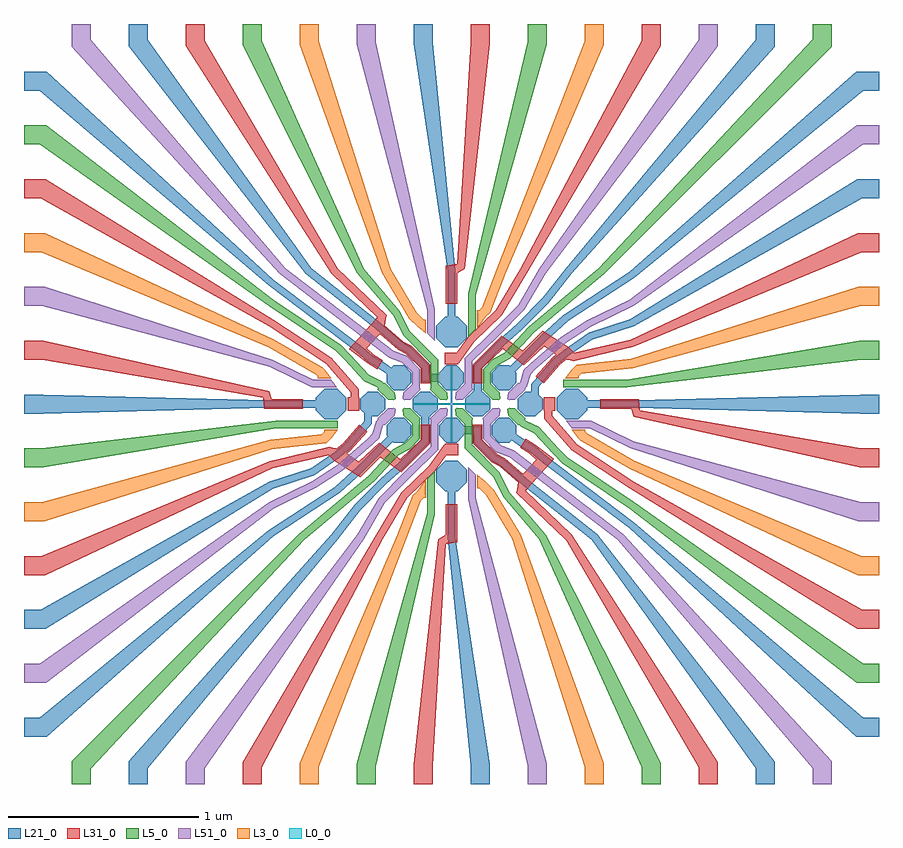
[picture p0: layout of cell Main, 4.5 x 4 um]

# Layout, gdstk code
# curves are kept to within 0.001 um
import gdstk
lib = gdstk.Library(unit=1e-6, precision=1e-09)
def R(c, l, rs):  # rectangles x0, y0, x1, y1
    for r in rs: c.add(gdstk.rectangle(r[:2], r[2:], *l))
def P(c, l, *ps):  # polygons
    for p in ps: c.add(gdstk.Polygon(p, *l))
L0_0 = (0, 0)
L3_0 = (3, 0)
L5_0 = (5, 0)
L21_0 = (21, 0)
L31_0 = (31, 0)
L51_0 = (51, 0)

main = lib.new_cell('Main')
P(main, L0_0, [(0.195,0.005),(0.005,0.005),(0.005,0.195),(-0.005,0.195),(-0.005,0.005),(-0.195,0.005),(-0.195,-0.005),(-0.005,-0.005),(-0.005,-0.195),(0.005,-0.195),(0.005,-0.005),(0.195,-0.005)],
  [(0.049,0.005),(0.005,0.005),(0.005,0.049),(-0.005,0.049),(-0.005,0.005),(-0.049,0.005),(-0.049,-0.005),(-0.005,-0.005),(-0.005,-0.049),(0.005,-0.049),(0.005,-0.005),(0.049,-0.005)])
P(main, L3_0, [(-0.135,0.373),(-0.135,0.443),(-0.145,0.443),(-0.18,0.408)],
  [(0.135,0.398),(0.135,0.493),(0.145,0.493),(0.18,0.458)],
  [(0.599,0.135),(0.669,0.135),(0.669,0.145),(0.633,0.18)],
  [(0.634,-0.135),(0.704,-0.135),(0.704,-0.145),(0.668,-0.18)],
  [(-0.135,-0.398),(-0.135,-0.493),(-0.145,-0.493),(-0.18,-0.458)],
  [(0.135,-0.373),(0.135,-0.443),(0.145,-0.443),(0.18,-0.408)],
  [(-0.599,-0.135),(-0.669,-0.135),(-0.669,-0.145),(-0.633,-0.18)],
  [(-0.634,0.135),(-0.704,0.135),(-0.704,0.145),(-0.668,0.18)],
  [(-0.12,0.378),(-0.12,0.378),(-0.12,0.378),(-0.12,0.378),(-0.12,0.378),(-0.12,0.378),(-0.12,0.378),(-0.12,0.378),(-0.12,0.378)],
  [(0.12,0.378),(0.12,0.378),(0.12,0.378),(0.12,0.378),(0.12,0.378),(0.12,0.378),(0.12,0.378),(0.12,0.378),(0.12,0.378)],
  [(-0.644,-0.12),(-0.644,-0.12),(-0.644,-0.12),(-0.644,-0.12),(-0.644,-0.12),(-0.644,-0.12),(-0.644,-0.12),(-0.644,-0.12),(-0.644,-0.12)],
  [(-0.674,0.12),(-0.674,0.12),(-0.674,0.12),(-0.674,0.12),(-0.674,0.12),(-0.674,0.12),(-0.674,0.12),(-0.674,0.12),(-0.674,0.12)],
  [(0.12,-0.378),(0.12,-0.378),(0.12,-0.378),(0.12,-0.378),(0.12,-0.378),(0.12,-0.378),(0.12,-0.378),(0.12,-0.378),(0.12,-0.378)],
  [(-0.12,-0.378),(-0.12,-0.378),(-0.12,-0.378),(-0.12,-0.378),(-0.12,-0.378),(-0.12,-0.378),(-0.12,-0.378),(-0.12,-0.378),(-0.12,-0.378)],
  [(0.644,0.12),(0.644,0.12),(0.644,0.12),(0.644,0.12),(0.644,0.12),(0.644,0.12),(0.644,0.12),(0.644,0.12),(0.644,0.12)],
  [(0.674,-0.12),(0.674,-0.12),(0.674,-0.12),(0.674,-0.12),(0.674,-0.12),(0.674,-0.12),(0.674,-0.12),(0.674,-0.12),(0.674,-0.12)],
  [(-0.18,0.408),(-0.145,0.443),(-0.183,0.481),(-0.319,0.71),(-0.7,1.908),(-0.7,2),(-0.8,2),(-0.8,1.891),(-0.365,0.689),(-0.223,0.45)],
  [(0.145,0.493),(0.18,0.458),(0.204,0.481),(0.286,0.691),(0.8,1.89),(0.8,2),(0.7,2),(0.7,1.909),(0.239,0.71),(0.161,0.509)],
  [(0.704,-0.145),(0.668,-0.18),(0.681,-0.193),(0.938,-0.342),(2.139,-0.9),(2.25,-0.9),(2.25,-0.8),(2.16,-0.8),(0.961,-0.298),(0.711,-0.153)],
  [(0.633,0.18),(0.669,0.145),(0.682,0.159),(0.955,0.189),(2.157,0.517),(2.25,0.517),(2.25,0.617),(2.142,0.617),(0.945,0.238),(0.66,0.207)],
  [(0.18,-0.408),(0.145,-0.443),(0.183,-0.481),(0.319,-0.71),(0.7,-1.908),(0.7,-2),(0.8,-2),(0.8,-1.891),(0.365,-0.689),(0.223,-0.45)],
  [(-0.145,-0.493),(-0.18,-0.458),(-0.204,-0.481),(-0.286,-0.691),(-0.8,-1.89),(-0.8,-2),(-0.7,-2),(-0.7,-1.909),(-0.239,-0.71),(-0.161,-0.509)],
  [(-0.704,0.145),(-0.668,0.18),(-0.681,0.193),(-0.938,0.342),(-2.139,0.9),(-2.25,0.9),(-2.25,0.8),(-2.16,0.8),(-0.961,0.298),(-0.711,0.153)],
  [(-0.633,-0.18),(-0.669,-0.145),(-0.682,-0.159),(-0.955,-0.189),(-2.157,-0.517),(-2.25,-0.517),(-2.25,-0.617),(-2.142,-0.617),(-0.945,-0.238),(-0.66,-0.207)])
R(main, L5_0, [(-0.669,-0.127,-0.599,-0.088), (0.589,0.088,0.659,0.127)])
P(main, L5_0, [(0.165,0.075),(0.217,0.023),(0.248,0.019),(0.257,0.028),(0.253,0.058),(0.2,0.111),(0.178,0.106),(0.169,0.098)],
  [(-0.165,-0.075),(-0.217,-0.023),(-0.248,-0.019),(-0.257,-0.028),(-0.253,-0.058),(-0.2,-0.111),(-0.178,-0.106),(-0.169,-0.098)],
  [(-0.111,0.075),(-0.058,0.023),(-0.028,0.019),(-0.019,0.028),(-0.023,0.058),(-0.075,0.111),(-0.098,0.106),(-0.106,0.098)],
  [(0.111,-0.075),(0.058,-0.023),(0.028,-0.019),(0.019,-0.028),(0.023,-0.058),(0.075,-0.111),(0.098,-0.106),(0.106,-0.098)],
  [(-0.387,0.075),(-0.334,0.023),(-0.303,0.019),(-0.294,0.028),(-0.299,0.058),(-0.351,0.111),(-0.373,0.106),(-0.382,0.098)],
  [(0.387,-0.075),(0.334,-0.023),(0.303,-0.019),(0.294,-0.028),(0.299,-0.058),(0.351,-0.111),(0.373,-0.106),(0.382,-0.098)],
  [(0.088,0.353),(0.088,0.463),(0.127,0.463),(0.127,0.393)],
  [(-0.087,-0.353),(-0.088,-0.463),(-0.127,-0.463),(-0.127,-0.393)],
  [(0.087,0.418),(0.127,0.418),(0.127,0.575),(0.5,1.893),(0.5,2),(0.4,2),(0.4,1.906),(0.087,0.58)],
  [(0.624,0.127),(0.624,0.088),(0.925,0.088),(2.153,0.233),(2.25,0.233),(2.25,0.333),(2.146,0.333),(0.922,0.127)],
  [(-0.088,-0.418),(-0.128,-0.418),(-0.128,-0.575),(-0.5,-1.893),(-0.5,-2),(-0.4,-2),(-0.4,-1.906),(-0.088,-0.58)],
  [(-0.624,-0.128),(-0.624,-0.088),(-0.925,-0.088),(-2.153,-0.233),(-2.25,-0.233),(-2.25,-0.333),(-2.146,-0.333),(-0.922,-0.128)],
  [(-0.359,0.055),(-0.331,0.083),(-0.367,0.119),(-0.435,0.154),(-0.532,0.26),(-0.584,0.311),(-0.938,0.55),(-2.133,1.467),(-2.25,1.467),(-2.25,1.367),(-2.166,1.367),(-0.961,0.517),(-0.609,0.28),(-0.561,0.232),(-0.46,0.121),(-0.391,0.087)],
  [(-0.084,0.056),(-0.054,0.082),(-0.069,0.1),(-0.069,0.232),(-0.219,0.382),(-0.272,0.488),(-0.462,0.711),(-1,1.911),(-1,2),(-1.1,2),(-1.1,1.888),(-0.496,0.689),(-0.306,0.466),(-0.252,0.359),(-0.109,0.215),(-0.109,0.085)],
  [(0.192,0.056),(0.222,0.082),(0.207,0.1),(0.207,0.167),(0.244,0.204),(0.306,0.239),(0.435,0.378),(0.803,0.685),(2,1.879),(2,2),(1.9,2),(1.9,1.92),(0.776,0.715),(0.407,0.407),(0.281,0.271),(0.22,0.237),(0.167,0.184),(0.167,0.085)],
  [(-0.192,-0.056),(-0.222,-0.082),(-0.207,-0.1),(-0.207,-0.167),(-0.244,-0.204),(-0.306,-0.239),(-0.435,-0.378),(-0.803,-0.685),(-2,-1.879),(-2,-2),(-1.9,-2),(-1.9,-1.92),(-0.776,-0.715),(-0.407,-0.407),(-0.281,-0.271),(-0.22,-0.237),(-0.167,-0.184),(-0.167,-0.085)],
  [(-0.192,-0.056),(-0.222,-0.082),(-0.207,-0.1),(-0.207,-0.167),(-0.244,-0.204),(-0.306,-0.239),(-0.435,-0.378),(-0.803,-0.685),(-2,-1.879),(-2,-2),(-1.9,-2),(-1.9,-1.92),(-0.776,-0.715),(-0.407,-0.407),(-0.281,-0.271),(-0.22,-0.237),(-0.167,-0.184),(-0.167,-0.085)],
  [(0.084,-0.056),(0.054,-0.082),(0.069,-0.1),(0.069,-0.232),(0.219,-0.382),(0.272,-0.488),(0.462,-0.711),(1,-1.911),(1,-2),(1.1,-2),(1.1,-1.888),(0.496,-0.689),(0.306,-0.466),(0.252,-0.359),(0.109,-0.215),(0.109,-0.085)],
  [(0.359,-0.055),(0.331,-0.083),(0.367,-0.119),(0.435,-0.154),(0.532,-0.26),(0.584,-0.311),(0.938,-0.55),(2.133,-1.467),(2.25,-1.467),(2.25,-1.367),(2.166,-1.367),(0.961,-0.517),(0.609,-0.28),(0.561,-0.232),(0.46,-0.121),(0.391,-0.087)])
P(main, L21_0, [(-0.211,-0.111),(-0.249,-0.073),(-0.303,-0.073),(-0.341,-0.111),(-0.341,-0.165),(-0.303,-0.203),(-0.249,-0.203),(-0.211,-0.165),(-0.211,-0.111)],
  [(-0.211,0.165),(-0.249,0.203),(-0.303,0.203),(-0.341,0.165),(-0.341,0.111),(-0.303,0.073),(-0.249,0.073),(-0.211,0.111),(-0.211,0.165)],
  [(0.065,-0.111),(0.027,-0.073),(-0.027,-0.073),(-0.065,-0.111),(-0.065,-0.165),(-0.027,-0.203),(0.027,-0.203),(0.065,-0.165),(0.065,-0.111)],
  [(0.065,0.165),(0.027,0.203),(-0.027,0.203),(-0.065,0.165),(-0.065,0.111),(-0.027,0.073),(0.027,0.073),(0.065,0.111),(0.065,0.165)],
  [(0.341,-0.111),(0.303,-0.073),(0.249,-0.073),(0.211,-0.111),(0.211,-0.165),(0.249,-0.203),(0.303,-0.203),(0.341,-0.165),(0.341,-0.111)],
  [(0.341,0.165),(0.303,0.203),(0.249,0.203),(0.211,0.165),(0.211,0.111),(0.249,0.073),(0.303,0.073),(0.341,0.111),(0.341,0.165)],
  [(-0.349,0.027),(-0.387,0.065),(-0.441,0.065),(-0.479,0.027),(-0.479,-0.027),(-0.441,-0.065),(-0.387,-0.065),(-0.349,-0.027),(-0.349,0.027)],
  [(-0.073,0.027),(-0.111,0.065),(-0.165,0.065),(-0.203,0.027),(-0.203,-0.027),(-0.165,-0.065),(-0.111,-0.065),(-0.073,-0.027),(-0.073,0.027)],
  [(0.203,0.027),(0.165,0.065),(0.111,0.065),(0.073,0.027),(0.073,-0.027),(0.111,-0.065),(0.165,-0.065),(0.203,-0.027),(0.203,0.027)],
  [(0.479,0.027),(0.441,0.065),(0.387,0.065),(0.349,0.027),(0.349,-0.027),(0.387,-0.065),(0.441,-0.065),(0.479,-0.027),(0.479,0.027)],
  [(0.08,0.411),(0.033,0.458),(-0.033,0.458),(-0.08,0.411),(-0.08,0.345),(-0.033,0.298),(0.033,0.298),(0.08,0.345),(0.08,0.411)],
  [(-0.554,0.033),(-0.601,0.08),(-0.667,0.08),(-0.714,0.033),(-0.714,-0.033),(-0.667,-0.08),(-0.601,-0.08),(-0.554,-0.033),(-0.554,0.033)],
  [(0.08,-0.345),(0.033,-0.298),(-0.033,-0.298),(-0.08,-0.345),(-0.08,-0.411),(-0.033,-0.458),(0.033,-0.458),(0.08,-0.411),(0.08,-0.345)],
  [(0.714,0.033),(0.667,0.08),(0.601,0.08),(0.554,0.033),(0.554,-0.033),(0.601,-0.08),(0.667,-0.08),(0.714,-0.033),(0.714,0.033)],
  [(-0.02,0.378),(0.02,0.378),(0.02,0.508),(0.02,0.704),(-0.1,1.902),(-0.1,2),(-0.2,2),(-0.2,1.896),(-0.02,0.701),(-0.02,0.508)],
  [(0.634,0.02),(0.634,-0.02),(0.784,-0.02),(0.934,-0.02),(0.964,-0.02),(2.15,-0.05),(2.25,-0.05),(2.25,0.05),(2.15,0.05),(0.964,0.02),(0.934,0.02),(0.784,0.02)],
  [(0.02,-0.378),(-0.02,-0.378),(-0.02,-0.508),(-0.02,-0.704),(0.1,-1.902),(0.1,-2),(0.2,-2),(0.2,-1.896),(0.02,-0.701),(0.02,-0.508)],
  [(-0.634,-0.02),(-0.634,0.02),(-0.784,0.02),(-0.934,0.02),(-0.964,0.02),(-2.15,0.05),(-2.25,0.05),(-2.25,-0.05),(-2.15,-0.05),(-0.964,-0.02),(-0.934,-0.02),(-0.784,-0.02)],
  [(-0.287,0.122),(-0.264,0.154),(-0.365,0.225),(-0.414,0.254),(-0.48,0.308),(-0.937,0.655),(-2.131,1.75),(-2.25,1.75),(-2.25,1.65),(-2.168,1.65),(-0.962,0.624),(-0.505,0.277),(-0.437,0.221),(-0.387,0.191)],
  [(0,0.118),(0,0.158),(-0.118,0.158),(-0.118,0.205),(-0.215,0.302),(-0.255,0.323),(-0.372,0.425),(-0.738,0.714),(-1.6,1.916),(-1.6,2),(-1.7,2),(-1.7,1.883),(-0.767,0.686),(-0.397,0.394),(-0.278,0.29),(-0.239,0.27),(-0.158,0.189),(-0.158,0.118)],
  [(0.262,0.152),(0.29,0.124),(0.497,0.33),(0.614,0.437),(0.962,0.664),(2.168,1.65),(2.25,1.65),(2.25,1.75),(2.131,1.75),(0.938,0.696),(0.589,0.468),(0.47,0.359)],
  [(-0.419,0),(-0.459,0),(-0.459,-0.09),(-0.565,-0.212),(-0.613,-0.251),(-0.739,-0.338),(-0.958,-0.408),(-2.163,-1.083),(-2.25,-1.083),(-2.25,-1.183),(-2.136,-1.183),(-0.942,-0.445),(-0.722,-0.374),(-0.59,-0.283),(-0.538,-0.241),(-0.419,-0.105)],
  [(0.419,0),(0.459,0),(0.459,0.09),(0.565,0.212),(0.613,0.251),(0.739,0.338),(0.958,0.408),(2.163,1.083),(2.25,1.083),(2.25,1.183),(2.136,1.183),(0.942,0.445),(0.722,0.374),(0.59,0.283),(0.538,0.241),(0.419,0.105)],
  [(0.118,0),(0.158,0),(0.158,0.189),(0.281,0.311),(0.371,0.392),(0.51,0.531),(0.632,0.687),(1.7,1.881),(1.7,2),(1.6,2),(1.6,1.918),(0.6,0.712),(0.48,0.558),(0.343,0.421),(0.253,0.34),(0.118,0.205)],
  [(-0.118,0),(-0.158,0),(-0.158,-0.189),(-0.281,-0.311),(-0.371,-0.392),(-0.51,-0.531),(-0.632,-0.687),(-1.7,-1.881),(-1.7,-2),(-1.6,-2),(-1.6,-1.918),(-0.6,-0.712),(-0.48,-0.558),(-0.343,-0.421),(-0.253,-0.34),(-0.118,-0.205)],
  [(-0.262,-0.152),(-0.29,-0.124),(-0.497,-0.33),(-0.614,-0.437),(-0.962,-0.664),(-2.168,-1.65),(-2.25,-1.65),(-2.25,-1.75),(-2.131,-1.75),(-0.938,-0.696),(-0.589,-0.468),(-0.47,-0.359)],
  [(-0.262,-0.152),(-0.29,-0.124),(-0.497,-0.33),(-0.614,-0.437),(-0.962,-0.664),(-2.168,-1.65),(-2.25,-1.65),(-2.25,-1.75),(-2.131,-1.75),(-0.938,-0.696),(-0.589,-0.468),(-0.47,-0.359)],
  [(0,-0.118),(0,-0.158),(0.118,-0.158),(0.118,-0.205),(0.215,-0.302),(0.255,-0.323),(0.372,-0.425),(0.738,-0.714),(1.6,-1.916),(1.6,-2),(1.7,-2),(1.7,-1.883),(0.767,-0.686),(0.397,-0.394),(0.278,-0.29),(0.239,-0.27),(0.158,-0.189),(0.158,-0.118)],
  [(0.287,-0.122),(0.264,-0.154),(0.365,-0.225),(0.414,-0.254),(0.48,-0.308),(0.937,-0.655),(2.131,-1.75),(2.25,-1.75),(2.25,-1.65),(2.168,-1.65),(0.962,-0.624),(0.505,-0.277),(0.437,-0.221),(0.387,-0.191)])
R(main, L31_0, [(-0.035,-0.27,0.035,-0.21), (-0.546,-0.035,-0.486,0.035), (0.486,-0.035,0.546,0.035), (-0.035,0.21,0.035,0.27)])
P(main, L31_0, [(-0.39,0.184),(-0.362,0.231),(-0.409,0.26),(-0.446,0.294),(-0.353,0.393),(-0.344,0.468),(-0.6,0.713),(-1.3,1.913),(-1.3,2),(-1.4,2),(-1.4,1.885),(-0.632,0.687),(-0.391,0.457),(-0.401,0.444),(-0.538,0.291),(-0.539,0.287),(-0.441,0.215)],
  [(-0.163,0.138),(-0.163,0.108),(-0.113,0.108),(-0.113,0.207),(-0.212,0.306),(-0.253,0.328),(-0.356,0.418),(-0.342,0.466),(-0.602,0.714),(-0.63,0.686),(-0.389,0.455),(-0.416,0.404),(-0.281,0.286),(-0.242,0.265),(-0.163,0.187)],
  [(-0.444,-0.146),(-0.486,-0.11),(-0.571,-0.207),(-0.608,-0.237),(-0.641,-0.226),(-0.955,-0.301),(-0.945,-0.339),(-0.646,-0.268),(-0.6,-0.301),(-0.532,-0.247)],
  [(-0.113,-0.108),(-0.163,-0.108),(-0.163,-0.187),(-0.269,-0.292),(-0.381,-0.203),(-0.487,-0.303),(-0.585,-0.236),(-0.645,-0.227),(-0.956,-0.301),(-2.16,-0.8),(-2.25,-0.8),(-2.25,-0.9),(-2.139,-0.9),(-0.943,-0.339),(-0.647,-0.269),(-0.617,-0.299),(-0.479,-0.386),(-0.376,-0.279),(-0.264,-0.358),(-0.113,-0.207)],
  [(0.113,0.108),(0.163,0.108),(0.163,0.187),(0.269,0.292),(0.381,0.203),(0.487,0.303),(0.585,0.236),(0.645,0.227),(0.956,0.301),(2.16,0.8),(2.25,0.8),(2.25,0.9),(2.139,0.9),(0.943,0.339),(0.647,0.269),(0.617,0.299),(0.479,0.386),(0.376,0.279),(0.264,0.358),(0.113,0.207)],
  [(0.444,0.146),(0.486,0.11),(0.571,0.207),(0.608,0.237),(0.641,0.226),(0.955,0.301),(0.945,0.339),(0.646,0.268),(0.6,0.301),(0.532,0.247)],
  [(0.163,-0.138),(0.163,-0.108),(0.113,-0.108),(0.113,-0.207),(0.212,-0.306),(0.253,-0.328),(0.356,-0.418),(0.342,-0.466),(0.602,-0.714),(0.63,-0.686),(0.389,-0.455),(0.416,-0.404),(0.281,-0.286),(0.242,-0.265),(0.163,-0.187)],
  [(0.39,-0.184),(0.362,-0.231),(0.409,-0.26),(0.446,-0.294),(0.353,-0.393),(0.344,-0.468),(0.6,-0.713),(1.3,-1.913),(1.3,-2),(1.4,-2),(1.4,-1.885),(0.632,-0.687),(0.391,-0.457),(0.401,-0.444),(0.538,-0.291),(0.539,-0.287),(0.441,-0.215)],
  [(-0.03,0.528),(0.03,0.528),(0.03,0.687),(0.069,0.712),(0.2,1.897),(0.2,2),(0.1,2),(0.1,1.901),(0.031,0.739),(-0.03,0.727)],
  [(0.784,0.025),(0.784,-0.025),(0.934,-0.025),(0.945,-0.025),(0.958,-0.067),(2.145,-0.333),(2.25,-0.333),(2.25,-0.233),(2.154,-0.233),(0.992,-0.033),(0.986,0.025),(0.934,0.025)],
  [(-0.784,-0.025),(-0.784,0.025),(-0.934,0.025),(-0.945,0.025),(-0.958,0.067),(-2.145,0.333),(-2.25,0.333),(-2.25,0.233),(-2.154,0.233),(-0.992,0.033),(-0.986,-0.025),(-0.934,-0.025)],
  [(0.03,-0.528),(-0.03,-0.528),(-0.03,-0.687),(-0.069,-0.712),(-0.2,-1.897),(-0.2,-2),(-0.1,-2),(-0.1,-1.901),(-0.031,-0.739),(0.03,-0.727)],
  [(0,0.258),(0,0.218),(0.04,0.218),(0.119,0.328),(0.264,0.468),(0.396,0.689),(1.1,1.886),(1.1,2),(1,2),(1,1.912),(0.362,0.71),(0.232,0.493),(0.089,0.354),(0.02,0.258)],
  [(0.529,0),(0.489,0),(0.489,-0.078),(0.633,-0.243),(0.939,-0.443),(2.136,-1.183),(2.25,-1.183),(2.25,-1.083),(2.163,-1.083),(0.96,-0.41),(0.66,-0.213),(0.529,-0.062)],
  [(0,-0.258),(0,-0.218),(-0.04,-0.218),(-0.119,-0.328),(-0.264,-0.468),(-0.396,-0.689),(-1.1,-1.886),(-1.1,-2),(-1,-2),(-1,-1.912),(-0.362,-0.71),(-0.232,-0.493),(-0.089,-0.354),(-0.02,-0.258)],
  [(-0.529,0),(-0.489,0),(-0.489,0.078),(-0.633,0.243),(-0.939,0.443),(-2.136,1.183),(-2.25,1.183),(-2.25,1.083),(-2.163,1.083),(-0.96,0.41),(-0.66,0.213),(-0.529,0.062)])
P(main, L51_0, [(-0.217,0.023),(-0.165,0.075),(-0.169,0.098),(-0.178,0.106),(-0.2,0.111),(-0.253,0.058),(-0.257,0.028),(-0.248,0.019)],
  [(0.217,-0.023),(0.165,-0.075),(0.169,-0.098),(0.178,-0.106),(0.2,-0.111),(0.253,-0.058),(0.257,-0.028),(0.248,-0.019)],
  [(0.058,0.023),(0.111,0.075),(0.106,0.098),(0.098,0.106),(0.075,0.111),(0.023,0.058),(0.019,0.028),(0.028,0.019)],
  [(-0.058,-0.023),(-0.111,-0.075),(-0.106,-0.098),(-0.098,-0.106),(-0.075,-0.111),(-0.023,-0.058),(-0.019,-0.028),(-0.028,-0.019)],
  [(0.334,0.023),(0.387,0.075),(0.382,0.098),(0.373,0.106),(0.351,0.111),(0.299,0.058),(0.294,0.028),(0.303,0.019)],
  [(-0.334,-0.023),(-0.387,-0.075),(-0.382,-0.098),(-0.373,-0.106),(-0.351,-0.111),(-0.299,-0.058),(-0.294,-0.028),(-0.303,-0.019)],
  [(-0.127,0.373),(-0.127,0.443),(-0.088,0.443),(-0.088,0.333)],
  [(-0.604,0.088),(-0.704,0.088),(-0.704,0.127),(-0.634,0.127)],
  [(0.127,-0.373),(0.127,-0.443),(0.088,-0.443),(0.088,-0.333)],
  [(0.604,-0.088),(0.704,-0.088),(0.704,-0.127),(0.634,-0.127)],
  [(-0.127,0.398),(-0.088,0.398),(-0.088,0.5),(-0.4,1.905),(-0.4,2),(-0.5,2),(-0.5,1.893),(-0.127,0.495)],
  [(0.661,-0.088),(0.661,-0.127),(0.727,-0.127),(0.943,-0.232),(2.142,-0.617),(2.25,-0.617),(2.25,-0.517),(2.157,-0.517),(0.957,-0.195),(0.736,-0.088)],
  [(0.127,-0.398),(0.087,-0.398),(0.087,-0.5),(0.4,-1.905),(0.4,-2),(0.5,-2),(0.5,-1.893),(0.127,-0.495)],
  [(-0.661,0.087),(-0.661,0.127),(-0.727,0.127),(-0.943,0.232),(-2.142,0.617),(-2.25,0.617),(-2.25,0.517),(-2.157,0.517),(-0.957,0.195),(-0.736,0.087)],
  [(-0.222,0.082),(-0.192,0.056),(-0.167,0.085),(-0.167,0.184),(-0.236,0.253),(-0.307,0.279),(-0.876,0.715),(-1.9,1.918),(-1.9,2),(-2,2),(-2,1.881),(-0.904,0.685),(-0.327,0.243),(-0.258,0.218),(-0.207,0.167),(-0.207,0.1)],
  [(0.054,0.082),(0.084,0.056),(0.109,0.085),(0.109,0.224),(0.245,0.356),(0.384,0.496),(0.496,0.689),(1.4,1.883),(1.4,2),(1.3,2),(1.3,1.916),(0.462,0.711),(0.352,0.521),(0.217,0.385),(0.069,0.241),(0.069,0.1)],
  [(0.331,0.083),(0.359,0.055),(0.396,0.092),(0.416,0.157),(0.442,0.183),(0.599,0.32),(0.734,0.407),(0.96,0.516),(2.166,1.367),(2.25,1.367),(2.25,1.467),(2.133,1.467),(0.939,0.55),(0.715,0.442),(0.575,0.352),(0.415,0.213),(0.381,0.179),(0.361,0.114)],
  [(-0.331,-0.083),(-0.359,-0.055),(-0.396,-0.092),(-0.416,-0.157),(-0.442,-0.183),(-0.599,-0.32),(-0.734,-0.407),(-0.96,-0.516),(-2.166,-1.367),(-2.25,-1.367),(-2.25,-1.467),(-2.133,-1.467),(-0.939,-0.55),(-0.715,-0.442),(-0.575,-0.352),(-0.415,-0.213),(-0.381,-0.179),(-0.361,-0.114)],
  [(-0.054,-0.082),(-0.084,-0.056),(-0.109,-0.085),(-0.109,-0.224),(-0.245,-0.356),(-0.384,-0.496),(-0.496,-0.689),(-1.4,-1.883),(-1.4,-2),(-1.3,-2),(-1.3,-1.916),(-0.462,-0.711),(-0.352,-0.521),(-0.217,-0.385),(-0.069,-0.241),(-0.069,-0.1)],
  [(0.222,-0.082),(0.192,-0.056),(0.167,-0.085),(0.167,-0.184),(0.236,-0.253),(0.307,-0.279),(0.876,-0.715),(1.9,-1.918),(1.9,-2),(2,-2),(2,-1.881),(0.904,-0.685),(0.327,-0.243),(0.258,-0.218),(0.207,-0.167),(0.207,-0.1)])

lib.write_gds('Main.gds')
